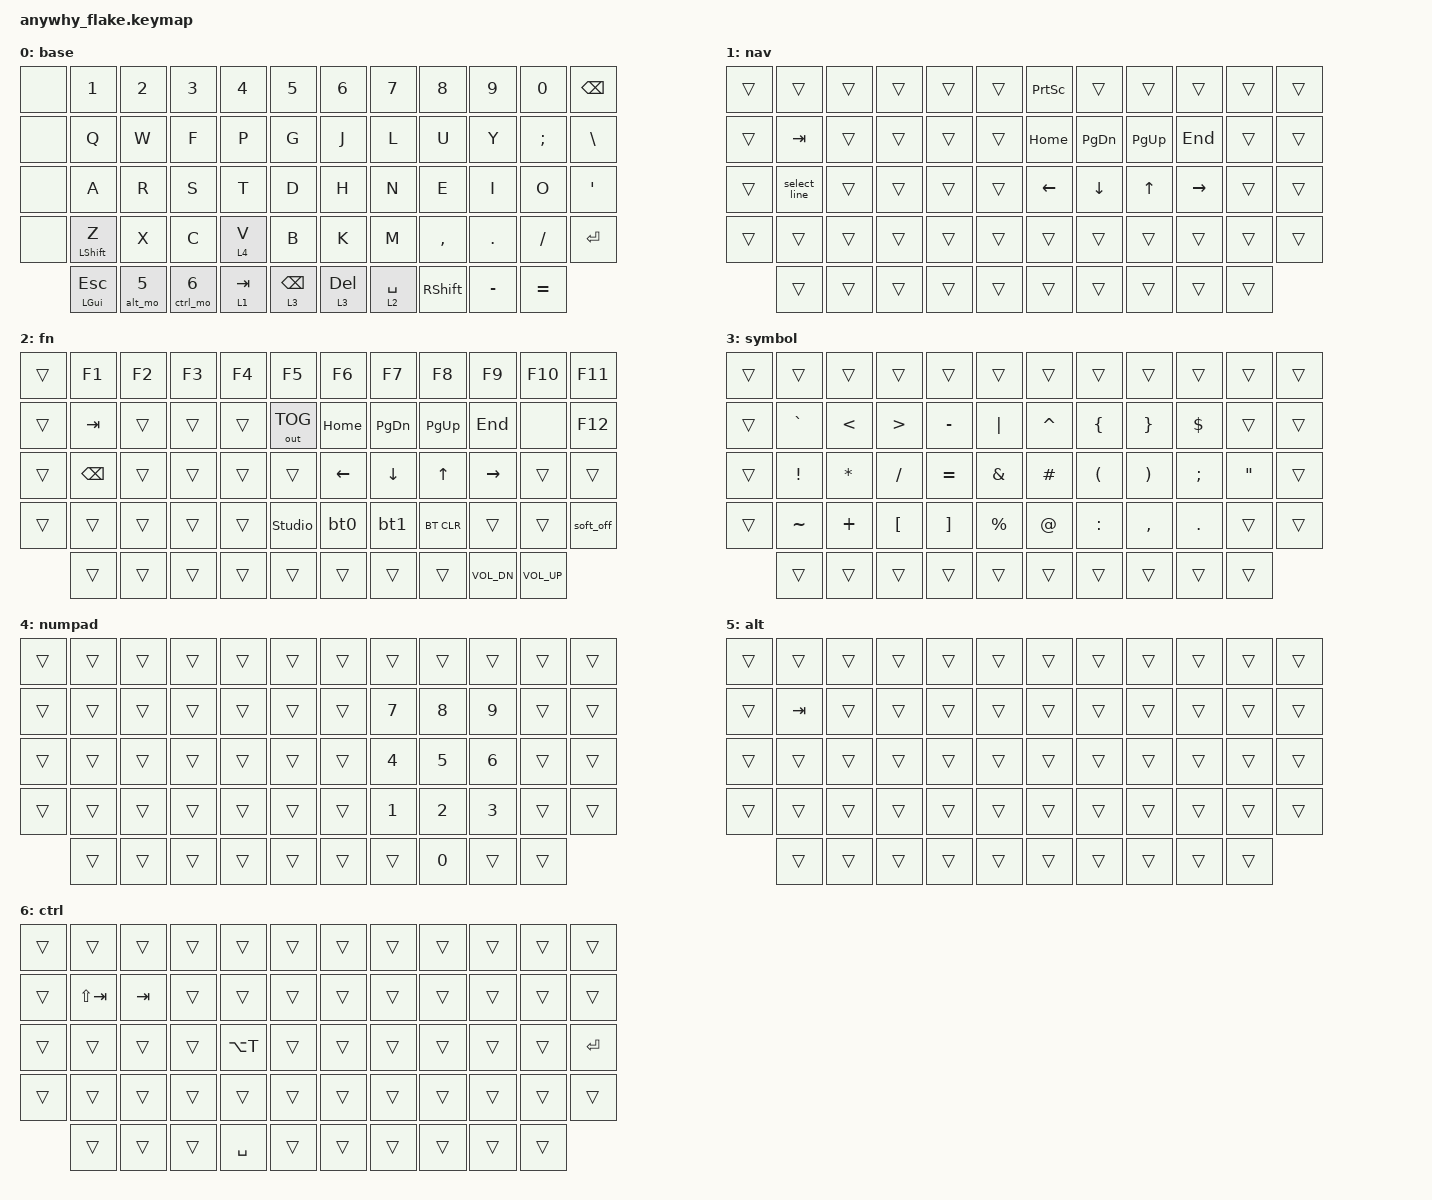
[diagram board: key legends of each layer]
#include <behaviors.dtsi>
#include <dt-bindings/zmk/bt.h>
#include <dt-bindings/zmk/keys.h>
#include <dt-bindings/zmk/outputs.h>

/ {
    combos {
        compatible = "zmk,combos";

        bt_sel_3 {
            bindings = <&bt3>;
            key-positions = <42 30>;
            layers = <2>;
        };

        bt_sel_4 {
            bindings = <&bt4>;
            key-positions = <30 18>;
            layers = <2>;
        };

        tab {
            bindings = <&kp TAB>;
            key-positions = <13 14>;
        };

        bs {
            bindings = <&kp BACKSPACE>;
            key-positions = <25 26>;
        };

        tilda {
            bindings = <&kp GRAVE>;
            key-positions = <1 2>;
        };
    };

    macros {
        bt_clr_0: bt_clr_0 {
            compatible = "zmk,behavior-macro";
            #binding-cells = <0>;
            bindings = <&bt BT_SEL 0 &bt BT_CLR>;
            label = "BT_CLR_0";
        };

        bt_clr_1: bt_clr_1 {
            compatible = "zmk,behavior-macro";
            #binding-cells = <0>;
            bindings = <&bt BT_SEL 1 &bt BT_CLR>;
            label = "BT_CLR_1";
        };

        bt_clr_2: bt_clr_2 {
            compatible = "zmk,behavior-macro";
            #binding-cells = <0>;
            bindings = <&bt BT_SEL 2 &bt BT_CLR>;
            label = "BT_CLR_2";
        };

        bt_clr_3: bt_clr_3 {
            compatible = "zmk,behavior-macro";
            #binding-cells = <0>;
            bindings = <&bt BT_SEL 3 &bt BT_CLR>;
            label = "BT_CLR_3";
        };

        bt_clr_4: bt_clr_4 {
            compatible = "zmk,behavior-macro";
            #binding-cells = <0>;
            bindings = <&bt BT_SEL 4 &bt BT_CLR>;
            label = "BT_CLR_4";
        };

        alt_mo: alt_mo {
            compatible = "zmk,behavior-macro-one-param";
            #binding-cells = <1>;
            bindings =
                <&macro_press>,
                <&kp LEFT_ALT &macro_param_1to1>,
                <&macro_press>,
                <&mo MACRO_PLACEHOLDER>,
                <&macro_pause_for_release>,
                <&macro_param_1to1>,
                <&macro_release>,
                <&mo MACRO_PLACEHOLDER>,
                <&macro_release>,
                <&kp LALT>;

            label = "ALT_MO";
        };

        ctrl_mo: ctrl_mo {
            compatible = "zmk,behavior-macro-one-param";
            #binding-cells = <1>;
            bindings =
                <&macro_press>,
                <&kp LCTRL &macro_param_1to1>,
                <&macro_press>,
                <&mo MACRO_PLACEHOLDER>,
                <&macro_pause_for_release>,
                <&macro_param_1to1>,
                <&macro_release>,
                <&mo MACRO_PLACEHOLDER>,
                <&macro_release>,
                <&kp LCTRL>;

            label = "CTRL_MO";
        };

        select_line: select_line {
            compatible = "zmk,behavior-macro";
            #binding-cells = <0>;
            bindings =
                <&macro_tap>,
                <&kp HOME>,
                <&macro_press>,
                <&kp LEFT_SHIFT>,
                <&macro_tap>,
                <&kp END>,
                <&macro_release>,
                <&kp LEFT_SHIFT>;

            label = "SELECT_LINE";
        };
    };

    behaviors {
        bt0: bt0 {
            compatible = "zmk,behavior-mod-morph";
            label = "BT0";
            bindings = <&bt BT_SEL 0>, <&bt_clr_0>;

            #binding-cells = <0>;
            mods = <(MOD_LSFT|MOD_RSFT)>;
        };

        bt1: bt1 {
            compatible = "zmk,behavior-mod-morph";
            label = "BT1";
            bindings = <&bt BT_SEL 1>, <&bt_clr_1>;

            #binding-cells = <0>;
            mods = <(MOD_LSFT|MOD_RSFT)>;
        };

        bt2: bt2 {
            compatible = "zmk,behavior-mod-morph";
            label = "BT2";
            bindings = <&bt BT_SEL 2>, <&bt_clr_2>;

            #binding-cells = <0>;
            mods = <(MOD_LSFT|MOD_RSFT)>;
        };

        bt3: bt3 {
            compatible = "zmk,behavior-mod-morph";
            label = "BT3";
            bindings = <&bt BT_SEL 3>, <&bt_clr_3>;

            #binding-cells = <0>;
            mods = <(MOD_LSFT|MOD_RSFT)>;
        };

        bt4: bt4 {
            compatible = "zmk,behavior-mod-morph";
            label = "BT4";
            bindings = <&bt BT_SEL 4>, <&bt_clr_4>;

            #binding-cells = <0>;
            mods = <(MOD_LSFT|MOD_RSFT)>;
        };

        home_row_left: home_row_left {
            compatible = "zmk,behavior-hold-tap";
            label = "HOME_ROW_LEFT";
            bindings = <&kp>, <&kp>;

            #binding-cells = <2>;
            tapping-term-ms = <150>;
            flavor = "balanced";
            quick-tap-ms = <175>;
            hold-trigger-key-positions = <6 7 8 9 10 11 18 19 20 21 22 23 30 31 32 33 34 35 42 43 44 45 46 47 53 54 55 56 57>;
            require-prior-idle-ms = <150>;
            hold-trigger-on-release;
        };

        home_row_right: home_row_right {
            compatible = "zmk,behavior-hold-tap";
            label = "HOME_ROW_RIGHT";
            bindings = <&kp>, <&kp>;

            #binding-cells = <2>;
            tapping-term-ms = <150>;
            flavor = "balanced";
            quick-tap-ms = <150>;
            hold-trigger-key-positions = <0 1 2 3 4 5 12 13 14 15 16 17 24 25 26 27 28 29 36 37 38 39 40 41 48 49 50 51 52>;
            require-prior-idle-ms = <125>;
            hold-trigger-on-release;
        };

        shift_hold_tap: shift_hold_tap {
            compatible = "zmk,behavior-hold-tap";
            label = "SHIFT_HOLD_TAP";
            bindings = <&kp>, <&kp>;

            #binding-cells = <2>;
            tapping-term-ms = <280>;
            flavor = "balanced";
            quick-tap-ms = <175>;
            require-prior-idle-ms = <150>;
            hold-trigger-on-release;
        };
    };

    keymap {
        compatible = "zmk,keymap";

        base {
            bindings = <
&none  &kp NUMBER_1                  &kp NUMBER_2  &kp NUMBER_3  &kp NUMBER_4  &kp NUMBER_5       &kp NUMBER_6  &kp N7       &kp NUMBER_8     &kp NUMBER_9  &kp NUMBER_0  &kp BACKSPACE
&none  &kp Q                         &kp W         &kp F         &kp P         &kp G              &kp J         &kp L        &kp U            &kp Y         &kp SEMI      &kp BACKSLASH
&none  &kp A                         &kp R         &kp S         &kp T         &kp D              &kp H         &kp N        &kp E            &kp I         &kp O         &kp SINGLE_QUOTE
&none  &shift_hold_tap LEFT_SHIFT Z  &kp X         &kp C         &lt 4 V       &kp B              &kp K         &kp M        &kp COMMA        &kp DOT       &kp FSLH      &kp ENTER
       &mt LEFT_GUI ESCAPE           &alt_mo 5     &ctrl_mo 6    &lt 1 TAB     &lt 3 BACKSPACE    &lt 3 DELETE  &lt 2 SPACE  &kp RIGHT_SHIFT  &kp MINUS     &kp EQUAL
            >;
        };

        nav {
            bindings = <
&trans  &trans        &trans  &trans  &trans  &trans    &kp PRINTSCREEN  &trans     &trans     &trans     &trans  &trans
&trans  &kp TAB       &trans  &trans  &trans  &trans    &kp HOME         &kp PG_DN  &kp PG_UP  &kp END    &trans  &trans
&trans  &select_line  &trans  &trans  &trans  &trans    &kp LEFT         &kp DOWN   &kp UP     &kp RIGHT  &trans  &trans
&trans  &trans        &trans  &trans  &trans  &trans    &trans           &trans     &trans     &trans     &trans  &trans
        &trans        &trans  &trans  &trans  &trans    &trans           &trans     &trans     &trans     &trans
            >;
        };

        fn {
            bindings = <
&trans  &kp F1         &kp F2  &kp F3  &kp F4  &kp F5            &kp F6    &kp F7      &kp F8     &kp F9        &kp F10       &kp F11
&trans  &kp TAB        &trans  &trans  &trans  &out OUT_TOG      &kp HOME  &kp PG_DN   &kp PG_UP  &kp END       &none         &kp F12
&trans  &kp BACKSPACE  &trans  &trans  &trans  &trans            &kp LEFT  &kp DOWN    &kp UP     &kp RIGHT     &trans        &trans
&trans  &trans         &trans  &trans  &trans  &studio_unlock    &bt0      &bt1        &bt BT_CLR &trans        &trans        &soft_off
        &trans         &trans  &trans  &trans  &trans            &trans    &trans      &trans     &kp C_VOL_DN  &kp C_VOL_UP
            >;
        };

        symbol {
            bindings = <
&trans  &trans           &trans         &trans            &trans     &trans           &trans     &trans                &trans                 &trans      &trans             &trans
&trans  &kp GRAVE        &kp LESS_THAN  &kp GREATER_THAN  &kp MINUS  &kp PIPE         &kp CARET  &kp LEFT_BRACE        &kp RIGHT_BRACE        &kp DOLLAR  &trans             &trans
&trans  &kp EXCLAMATION  &kp ASTRK      &kp FSLH          &kp EQUAL  &kp AMPERSAND    &kp POUND  &kp LEFT_PARENTHESIS  &kp RIGHT_PARENTHESIS  &kp SEMI    &kp DOUBLE_QUOTES  &trans
&trans  &kp TILDE        &kp PLUS       &kp LBKT          &kp RBKT   &kp PRCNT        &kp AT     &kp COLON             &kp COMMA              &kp DOT     &trans             &trans
        &trans           &trans         &trans            &trans     &trans           &trans     &trans                &trans                 &trans      &trans
            >;
        };

        numpad {
            bindings = <
&trans  &trans  &trans  &trans  &trans  &trans    &trans  &trans  &trans  &trans  &trans  &trans
&trans  &trans  &trans  &trans  &trans  &trans    &trans  &kp N7  &kp N8  &kp N9  &trans  &trans
&trans  &trans  &trans  &trans  &trans  &trans    &trans  &kp N4  &kp N5  &kp N6  &trans  &trans
&trans  &trans  &trans  &trans  &trans  &trans    &trans  &kp N1  &kp N2  &kp N3  &trans  &trans
        &trans  &trans  &trans  &trans  &trans    &trans  &trans  &kp N0  &trans  &trans
            >;
        };

        alt {
            bindings = <
&trans  &trans   &trans  &trans  &trans  &trans    &trans  &trans  &trans  &trans  &trans  &trans
&trans  &kp TAB  &trans  &trans  &trans  &trans    &trans  &trans  &trans  &trans  &trans  &trans
&trans  &trans   &trans  &trans  &trans  &trans    &trans  &trans  &trans  &trans  &trans  &trans
&trans  &trans   &trans  &trans  &trans  &trans    &trans  &trans  &trans  &trans  &trans  &trans
        &trans   &trans  &trans  &trans  &trans    &trans  &trans  &trans  &trans  &trans
            >;
        };

        ctrl {
            bindings = <
&trans  &trans       &trans   &trans  &trans     &trans    &trans  &trans  &trans  &trans  &trans  &trans
&trans  &kp LS(TAB)  &kp TAB  &trans  &trans     &trans    &trans  &trans  &trans  &trans  &trans  &trans
&trans  &trans       &trans   &trans  &kp LA(T)  &trans    &trans  &trans  &trans  &trans  &trans  &kp ENTER
&trans  &trans       &trans   &trans  &trans     &trans    &trans  &trans  &trans  &trans  &trans  &trans
        &trans       &trans   &trans  &kp SPACE  &trans    &trans  &trans  &trans  &trans  &trans
            >;
        };
    };
};
